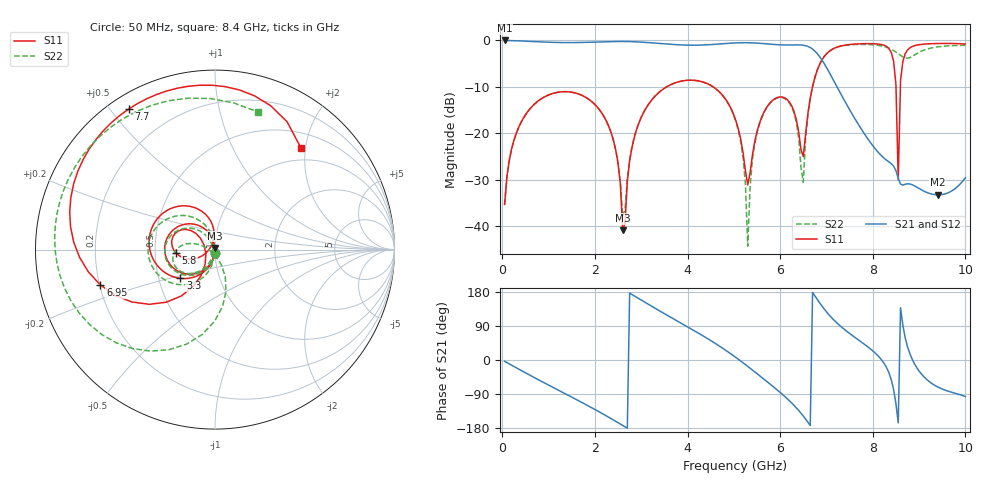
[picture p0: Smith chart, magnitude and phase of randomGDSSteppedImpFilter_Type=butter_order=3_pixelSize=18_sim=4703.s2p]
! freq	dB(S11)	phase(S11)	dB(S12)	phase(S12)
!  dB(S21)	phase(S21)	dB(S22)	phase(S22)
!S-par simulation data
#  GHz  S  DB  R 50
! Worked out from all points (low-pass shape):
!   200 points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, 50 MHz to 10 GHz, reference 50 ohm
!   highest |S21| = -0.01 dB at 50 MHz (marker M1); lowest = -33.3 dB at 9.4 GHz (marker M2)
!   |S21| within 3 dB of the highest: start of sweep to 6.814 GHz
!   lowest |S11| = -40.9 dB at 2.6 GHz (marker M3), VSWR 1.02, Z = 49.9 + j0.887 ohm
!   |S11| at or under -10 dB: start of sweep to 3.551 GHz; 4.553 GHz to 6.699 GHz (2.146 GHz wide, 38.2 % of centre); 8.501 GHz to 8.597 GHz (95.42 MHz wide, 1.12 % of centre)
!   |S22| runs from -44.3 to -0.9 dB; largest |S21 - S12| = 0
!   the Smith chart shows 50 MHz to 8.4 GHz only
!   S11 on the Smith chart (normalised r, x): 50 MHz: 1.00, -0.03; 3.3 GHz: 0.65, -0.22; 5.8 GHz: 0.64, -0.03; 6.95 GHz: 0.20, -0.14; 7.7 GHz: 0.06, +0.56; 8.4 GHz: 0.77, +1.92
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0.05  -35.36 -93.3  -0.01 -3.5  -0.01 -3.5  -35.35 -93.1
0.55  -15.34 -128.7  -0.18 -37.1  -0.18 -37.1  -15.34 -126.4
1.75  -11.98 152.1  -0.43 -114.0  -0.43 -114.0  -11.98 159.7
2.4  -21.53 107.0  -0.23 -158.3  -0.23 -158.3  -21.52 121.5
2.6  -40.94 97.7  -0.22 -172.7  -0.22 -172.7  -37.87 151.2
3.3  -12.01 -140.3  -0.58 136.5  -0.58 136.5  -11.98 -129.4
3.4  -11.07 -147.5  -0.67 129.4  -0.67 129.4  -11.04 -136.0
5.05  -17.49 95.4  -0.53 6.1  -0.53 6.1  -17.68 109.2
5.3  -31.14 146.7  -0.49 -16.8  -0.49 -16.8  -44.35 163.8
5.45  -21.86 -154.0  -0.55 -31.1  -0.55 -31.1  -22.34 -113.3
5.8  -13.26 -174.7  -0.82 -65.3  -0.82 -65.3  -13.35 -143.0
6.5  -25.03 -155.4  -1.04 -147.9  -1.04 -147.9  -30.57 -92.2
6.7  -9.94 -125.9  -1.87 178.1  -1.87 178.1  -9.92 -82.4
6.95  -3.50 -162.9  -4.97 134.7  -4.97 134.7  -3.48 -122.4
7.7  -0.73 121.6  -18.28 52.2  -18.28 52.2  -0.86 158.4
8.35  -1.75 60.6  -26.18 -34.0  -26.18 -34.0  -1.68 82.8
8.4  -2.61 49.6  -26.56 -52.2  -26.56 -52.2  -1.91 72.6
8.55  -30.05 -176.0  -29.70 -166.0  -29.70 -166.0  -2.86 31.9
8.65  -4.53 127.9  -31.19 91.5  -31.19 91.5  -3.56 -5.3
8.9  -1.14 87.1  -31.34 -9.9  -31.34 -9.9  -3.15 -102.1
9.4  -0.66 55.1  -33.28 -71.0  -33.28 -71.0  -1.39 174.5
10  -0.79 27.4  -29.58 -96.6  -29.58 -96.6  -1.05 135.2
